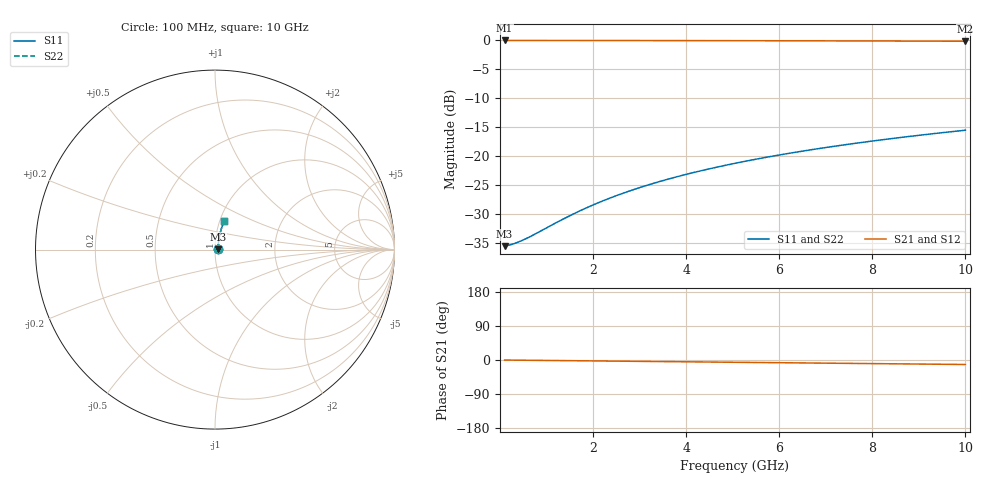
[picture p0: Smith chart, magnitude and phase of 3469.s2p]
# Hz S RI R 50.00
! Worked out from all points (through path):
!   100 points, 100 MHz to 10 GHz, reference 50 ohm
!   highest |S21| = -0.14 dB at 100 MHz (marker M1); lowest = -0.3 dB at 10 GHz (marker M2)
!   group delay of S21, straight-line fit = 3.29 ps
!   lowest |S11| = -35.6 dB at 100 MHz (marker M3), VSWR 1.03, Z = 51.7 + j0.169 ohm
!   |S11| at or under -10 dB: start of sweep to end of sweep
!   |S22| runs from -35.6 to -15.6 dB; largest |S21 - S12| = 0
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1e8  0.0165 0.00164  0.9835 -0.00205  0.9835 -0.00205  0.0165 0.00164
2e8  0.0166 0.00328  0.9834 -0.0041  0.9834 -0.0041  0.0166 0.00328
3e8  0.0167 0.00492  0.9833 -0.00614  0.9833 -0.00614  0.0167 0.00492
4e8  0.0168 0.00655  0.9832 -0.00819  0.9832 -0.00819  0.0168 0.00655
5e8  0.0169 0.00819  0.9831 -0.0102  0.9831 -0.0102  0.0169 0.00819
7e8  0.0171 0.0115  0.9829 -0.0143  0.9829 -0.0143  0.0171 0.0115
1.4e9  0.0178 0.0229  0.9822 -0.0286  0.9822 -0.0286  0.0178 0.0229
1.8e9  0.0183 0.0294  0.9816 -0.0368  0.9816 -0.0368  0.0183 0.0294
2.2e9  0.019 0.0359  0.981 -0.045  0.981 -0.045  0.019 0.0359
2.6e9  0.0197 0.0424  0.9803 -0.0531  0.9803 -0.0531  0.0197 0.0424
3e9  0.0205 0.0489  0.9794 -0.0612  0.9794 -0.0612  0.0205 0.0489
3.4e9  0.0214 0.0554  0.9785 -0.0693  0.9785 -0.0693  0.0214 0.0554
3.8e9  0.0225 0.0618  0.9774 -0.0774  0.9774 -0.0774  0.0225 0.0618
4.2e9  0.0236 0.0683  0.9763 -0.0855  0.9763 -0.0855  0.0236 0.0683
4.6e9  0.0248 0.0747  0.975 -0.0935  0.975 -0.0935  0.0248 0.0747
5.1e9  0.0265 0.0826  0.9733 -0.1035  0.9733 -0.1035  0.0265 0.0826
5.9e9  0.0295 0.0952  0.9701 -0.1194  0.9701 -0.1194  0.0295 0.0952
6.7e9  0.033 0.1078  0.9666 -0.1352  0.9666 -0.1352  0.033 0.1078
7.5e9  0.0368 0.1201  0.9627 -0.1509  0.9627 -0.1509  0.0368 0.1201
8.4e9  0.0416 0.1338  0.9578 -0.1683  0.9578 -0.1683  0.0416 0.1338
9.2e9  0.0462 0.1458  0.953 -0.1836  0.953 -0.1836  0.0462 0.1458
1e10  0.0513 0.1576  0.9478 -0.1987  0.9478 -0.1987  0.0513 0.1576
